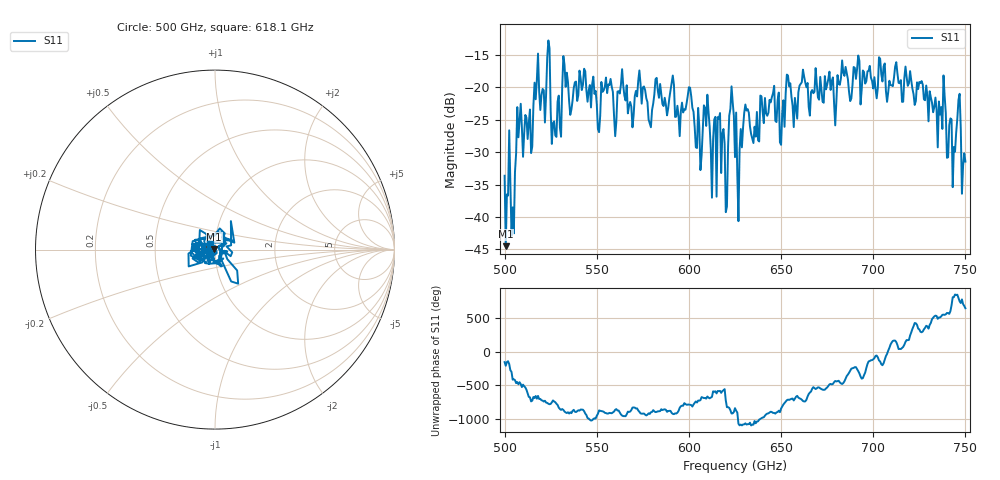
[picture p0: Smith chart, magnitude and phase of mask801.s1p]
!Created with skrf (http://scikit-rf.org).
# GHz S MA R 50.0
!freq magS11 angS11
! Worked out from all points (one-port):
!   401 points, 500 GHz to 750 GHz, reference 50 ohm
!   lowest |S11| = -44.5 dB at 500.6 GHz (marker M1), VSWR 1.01, Z = 49.5 + j0.294 ohm
!   |S11| at or under -10 dB: start of sweep to end of sweep
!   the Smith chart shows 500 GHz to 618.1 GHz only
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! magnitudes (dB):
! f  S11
! 500 GHz  -33.6
! 500.6 GHz  -44.5
! 504.4 GHz  -38.5
! 507.5 GHz  -27.7
! 513.8 GHz  -23.4
! 517.5 GHz  -18.8
! 523.8 GHz  -12.8
! 526.9 GHz  -25.3
! 531.2 GHz  -20.0
! 562.5 GHz  -21.0
! 579.4 GHz  -26.2
! 590.6 GHz  -19.5
! 593.8 GHz  -22.9
! 600.6 GHz  -20.1
! 605.6 GHz  -26.0
! 609.4 GHz  -26.0
! 620 GHz  -39.3
! 623.1 GHz  -19.9
! 625 GHz  -30.8
! 627.5 GHz  -29.5
! 631.2 GHz  -23.6
! 656.2 GHz  -22.9
! 687.5 GHz  -22.1
! 718.8 GHz  -19.8
! 738.1 GHz  -18.2
! 743.8 GHz  -29.2
! 746.2 GHz  -21.9
! 750 GHz  -31.5
